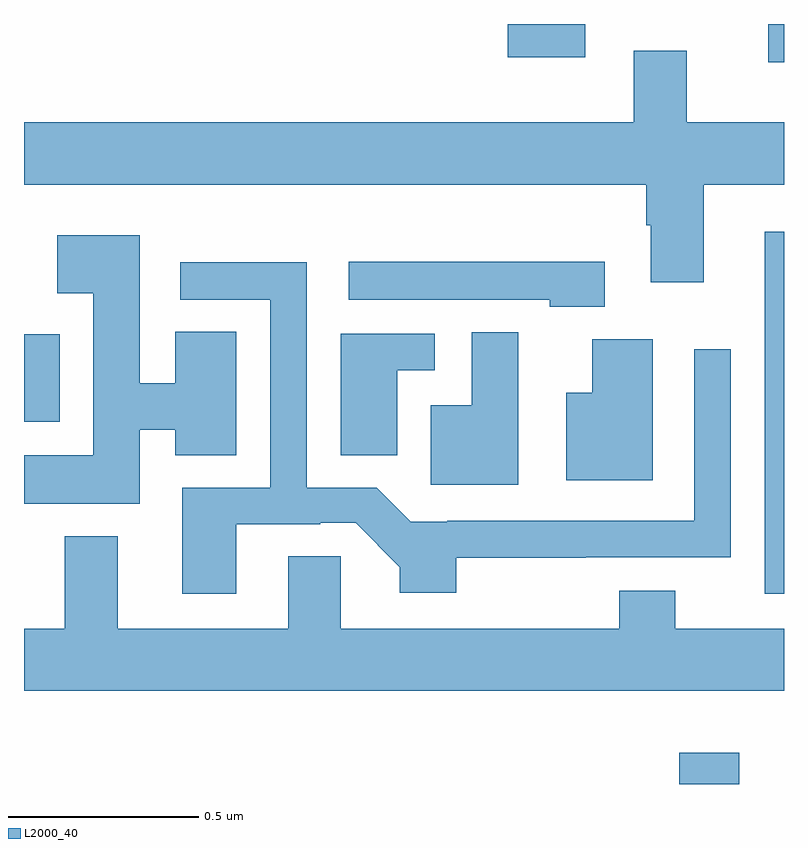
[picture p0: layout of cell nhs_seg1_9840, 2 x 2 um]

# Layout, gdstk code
import gdstk
lib = gdstk.Library(unit=1e-6, precision=1e-09)
def R(c, l, rs):  # rectangles x0, y0, x1, y1
    for r in rs: c.add(gdstk.rectangle(r[:2], r[2:], *l))
def P(c, l, *ps):  # polygons
    for p in ps: c.add(gdstk.Polygon(p, *l))
L2000_40 = (2000, 40)

nhs_seg1_9840 = lib.new_cell('nhs_seg1_9840')
R(nhs_seg1_9840, L2000_40, [(235.724,506.199,235.882,506.281), (235.949,506.7,236,507.652), (234,507.152,234.094,507.382), (235.958,508.098,236,508.199), (235.273,508.112,235.477,508.199)])
P(nhs_seg1_9840, L2000_40, [(235.789,507.776),(236,507.776),(236,507.94),(235.744,507.94),(235.744,508.129),(235.604,508.129),(235.604,507.94),(234,507.94),(234,507.776),(235.637,507.776),(235.637,507.67),(235.649,507.67),(235.649,507.519),(235.789,507.519)],
  [(234.304,507.131),(234.398,507.131),(234.398,507.064),(234.559,507.064),(234.559,507.389),(234.398,507.389),(234.398,507.253),(234.304,507.253),(234.304,507.643),(234.087,507.643),(234.087,507.491),(234.182,507.491),(234.182,507.064),(234,507.064),(234,506.936),(234.304,506.936)],
  [(235.528,507.574),(234.855,507.574),(234.855,507.473),(235.383,507.473),(235.383,507.455),(235.528,507.455)],
  [(234.559,506.883),(234.779,506.883),(234.779,506.886),(234.873,506.886),(234.989,506.77),(234.989,506.702),(235.137,506.702),(235.137,506.795),(235.478,506.795),(235.478,506.796),(235.86,506.796),(235.86,507.343),(235.764,507.343),(235.764,506.892),(235.114,506.892),(235.114,506.889),(235.018,506.889),(234.928,506.979),(234.744,506.979),(234.744,507.572),(234.411,507.572),(234.411,507.474),(234.648,507.474),(234.648,506.979),(234.416,506.979),(234.416,506.7),(234.559,506.7)],
  [(235.3,507.388),(235.178,507.388),(235.178,507.196),(235.07,507.196),(235.07,506.987),(235.3,506.987)],
  [(234.982,507.288),(235.081,507.288),(235.081,507.384),(234.833,507.384),(234.833,507.064),(234.982,507.064)],
  [(235.654,507.37),(235.496,507.37),(235.496,507.229),(235.427,507.229),(235.427,506.999),(235.654,506.999)],
  [(236,506.608),(235.714,506.608),(235.714,506.707),(235.567,506.707),(235.567,506.608),(234.834,506.608),(234.834,506.798),(234.695,506.798),(234.695,506.608),(234.247,506.608),(234.247,506.851),(234.107,506.851),(234.107,506.608),(234,506.608),(234,506.444),(236,506.444)])

lib.write_gds('nhs_seg1_9840.gds')
